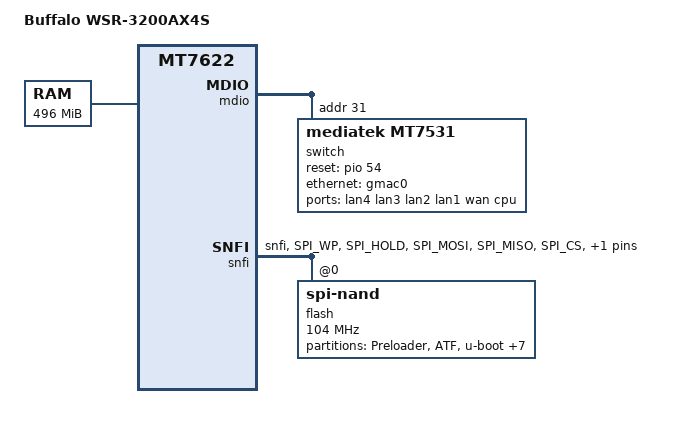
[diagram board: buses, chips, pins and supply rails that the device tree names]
// SPDX-License-Identifier: GPL-2.0-or-later OR MIT
/dts-v1/;

#include "mt7622-buffalo-wsr.dtsi"

/ {
	model = "Buffalo WSR-3200AX4S";
	compatible = "buffalo,wsr-3200ax4s", "mediatek,mt7622";

	memory {
		reg = <0 0x40000000 0 0x1f000000>;
	};
};

&pio {
	/* Serial NAND is shared pin with SPI-NOR */
	serial_nand_pins: serial-nand-pins {
		mux {
			function = "flash";
			groups = "snfi";
		};

		conf-cmd-dat {
			pins = "SPI_WP", "SPI_HOLD", "SPI_MOSI",
			       "SPI_MISO", "SPI_CS";
			input-enable;
			drive-strength = <16>;
			bias-pull-up;
		};

		conf-clk {
			pins = "SPI_CLK";
			drive-strength = <16>;
			bias-pull-down;
		};
	};
};

&mdio {
	switch@1f {
		compatible = "mediatek,mt7531";
		reg = <31>;
		reset-gpios = <&pio 54 GPIO_ACTIVE_HIGH>;

		ports {
			#address-cells = <1>;
			#size-cells = <0>;

			port@0 {
				reg = <0>;
				label = "lan4";
			};

			port@1 {
				reg = <1>;
				label = "lan3";
			};

			port@2 {
				reg = <2>;
				label = "lan2";
			};

			port@3 {
				reg = <3>;
				label = "lan1";
			};

			port@4 {
				reg = <4>;
				label = "wan";
			};

			port@6 {
				reg = <6>;
				label = "cpu";
				ethernet = <&gmac0>;
				phy-connection-type = "2500base-x";

				fixed-link {
					speed = <2500>;
					full-duplex;
					pause;
				};
			};
		};
	};
};

&snfi {
	pinctrl-names = "default";
	pinctrl-0 = <&serial_nand_pins>;
	status = "okay";

	flash@0 {
		compatible = "spi-nand";
		reg = <0>;
		spi-max-frequency = <104000000>;
		nand-ecc-engine = <&snfi>;
		mediatek,bmt-v2;
		mediatek,bmt-table-size = <0x1000>;
		/*
		 * - Preloader - (kernel (6MiB, in firmware))
		 * - Kernel2 - WTB
		 */
		mediatek,bmt-remap-range = <0x0 0x8c0000>,
					   <0x1ac0000 0x5200000>;

		partitions {
			compatible = "fixed-partitions";
			#address-cells = <1>;
			#size-cells = <1>;

			partition@0 {
				label = "Preloader";
				reg = <0x0 0x80000>;
				read-only;
			};

			partition@80000 {
				label = "ATF";
				reg = <0x80000 0x40000>;
				read-only;
			};

			partition@c0000 {
				label = "u-boot";
				reg = <0xc0000 0x80000>;
				read-only;
			};

			partition@140000 {
				label = "u-boot-env";
				reg = <0x140000 0x80000>;
				read-only;
			};

			factory: partition@1c0000 {
				label = "factory";
				reg = <0x1c0000 0x100000>;
				read-only;
			};

			partition@2c0000 {
				compatible = "brcm,trx";
				brcm,trx-magic = <0x33504844>;
				label = "firmware";
				reg = <0x2c0000 0x1800000>;
			};

			partition@1ac0000 {
				label = "Kernel2";
				reg = <0x1ac0000 0x1800000>;
			};

			partition@32c0000 {
				label = "glbcfg";
				reg = <0x32c0000 0x200000>;
				read-only;
			};

			partition@34c0000 {
				label = "board_data";
				reg = <0x34c0000 0x200000>;
				read-only;
			};

			partition@36c0000 {
				label = "WTB";
				reg = <0x36c0000 0x3600000>;
				read-only;
			};
		};
	};
};
